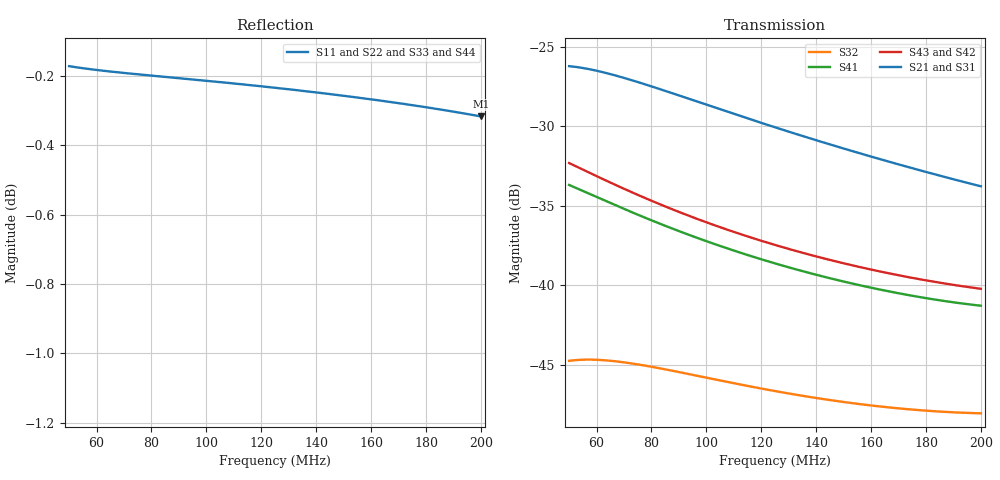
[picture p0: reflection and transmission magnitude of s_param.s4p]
! TOUCHSTONE file generated by CST MICROWAVE STUDIO
! Date and time: Thu Jun 20 15:14:50 2024
! Project name: Unit_Cell_Split_Ring_3x1.cst
! Parameters = {C_tune=7.957; Rs=1; gap_width=2; pcb_edge=1; pcb_thickness=1.6; phantom_edge=10; split_ring_height=0.035; split_ring_inner_radius=30; split_ring_outer_radius=31; state=16.5; trace_width=1}
! Header version: 2024
! Port assignment regex: !\s*Touchstone port\s*([0-9]+)\s*=\s*(CST MWS port|CST DES external port|CST DES block port)\s*(.+)\s* \(\"(.*)\"\)(\s*mode\s*([0-9]+))?.*
! Touchstone port assignment:
! Touchstone port 1 = CST MWS port 1 ("")
! Touchstone port 2 = CST MWS port 2 ("")
! Touchstone port 3 = CST MWS port 3 ("")
! Touchstone port 4 = CST MWS port 4 ("")
# MHz S RI R 50
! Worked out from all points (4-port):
!   1001 points, 50 MHz to 200 MHz, reference 50 ohm
!   strongest paths, dB at 50 MHz, 87.5 MHz, 125 MHz, 162.5 MHz, 200 MHz:
!     S21: -26.2, -27.9, -30.1, -32.0, -33.8
!     S31: -26.2, -27.9, -30.1, -32.1, -33.9
!     S43: -32.3, -35.2, -37.5, -39.1, -40.2
!     S42: -32.3, -35.2, -37.5, -39.1, -40.3
!     S41: -33.7, -36.4, -38.6, -40.3, -41.3
!     S32: -44.8, -45.4, -46.7, -47.6, -48.1
!   lowest |S11| = -0.3 dB at 200 MHz (marker M1), VSWR 54.75, Z = 47.5 + j354 ohm
!   |S11| at or under -10 dB: nowhere
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50  0.1248 0.9724  -0.0487 0.00554  -0.0486 0.00551  0.0159 -0.0133
    -0.0487 0.00554  0.1428 0.9738  -0.00577 -0.000352  0.0181 -0.0161
    -0.0486 0.00551  -0.00577 -0.000352  0.1412 0.9741  0.0181 -0.0161
    0.0159 -0.0133  0.0181 -0.0161  0.0181 -0.0161  0.9527 0.2975
61.7  0.3291 0.9219  -0.0446 0.015  -0.0445 0.0149  0.0123 -0.0141
      -0.0446 0.015  0.3463 0.9197  -0.0057 0.00111  0.0137 -0.0168
      -0.0445 0.0149  -0.0057 0.00111  0.3448 0.9204  0.0138 -0.0168
      0.0123 -0.0141  0.0137 -0.0168  0.0138 -0.0168  0.971 0.2313
73.7  0.484 0.8496  -0.0387 0.0209  -0.0387 0.0208  0.00926 -0.0141
      -0.0387 0.0209  0.4994 0.845  -0.0052 0.00222  0.0103 -0.0165
      -0.0387 0.0208  -0.0052 0.00222  0.498 0.8459  0.0103 -0.0165
      0.00926 -0.0141  0.0103 -0.0165  0.0103 -0.0165  0.9815 0.1818
87.35  0.6108 0.7621  -0.0321 0.0243  -0.0321 0.0242  0.00663 -0.0136
       -0.0321 0.0243  0.6239 0.756  -0.00445 0.00303  0.00737 -0.0157
       -0.0321 0.0242  -0.00445 0.00303  0.6227 0.7571  0.0074 -0.0157
       0.00663 -0.0136  0.00737 -0.0157  0.0074 -0.0157  0.9884 0.1388
103.1  0.7126 0.6659  -0.0257 0.0256  -0.0256 0.0255  0.00434 -0.0127
       -0.0257 0.0256  0.7231 0.6595  -0.00358 0.00356  0.00489 -0.0146
       -0.0256 0.0255  -0.00358 0.00356  0.7221 0.6607  0.00491 -0.0146
       0.00434 -0.0127  0.00489 -0.0146  0.00491 -0.0146  0.993 0.0998
143.15  0.8531 0.4647  -0.0148 0.0239  -0.0148 0.0237  0.000582 -0.0106
        -0.0148 0.0239  0.8594 0.4598  -0.00185 0.00396  0.00095 -0.0121
        -0.0148 0.0237  -0.00185 0.00396  0.8587 0.4612  0.000961 -0.0121
        0.000582 -0.0106  0.00095 -0.0121  0.000961 -0.0121  0.9969 0.0256
200  0.9277 0.2625  -0.00783 0.0189  -0.00783 0.0187  -0.00304 -0.00806
     -0.00783 0.0189  0.9315 0.2614  -0.000242 0.00394  -0.0026 -0.00935
     -0.00783 0.0187  -0.000242 0.00394  0.9311 0.263  -0.0026 -0.00939
     -0.00304 -0.00806  -0.0026 -0.00935  -0.0026 -0.00939  0.9918 -0.0635
